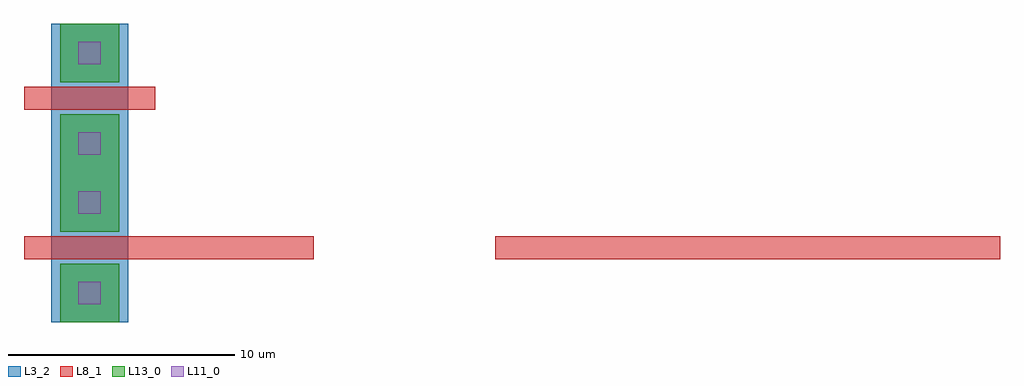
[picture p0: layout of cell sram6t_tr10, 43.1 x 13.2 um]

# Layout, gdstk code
from math import pi, radians
import gdstk
lib = gdstk.Library(unit=1e-6, precision=1e-07)
def R(c, l, rs):  # rectangles x0, y0, x1, y1
    for r in rs: c.add(gdstk.rectangle(r[:2], r[2:], *l))
L3_2 = (3, 2)
L8_1 = (8, 1)
L11_0 = (11, 0)
L13_0 = (13, 0)

fet_n = lib.new_cell('fet_n')
R(fet_n, L3_2, [(-3.3,-1.7,3.3,1.7)])
R(fet_n, L11_0, [(-2.5,-0.5,-1.5,0.5), (1.5,-0.5,2.5,0.5)])
R(fet_n, L13_0, [(-3.3,-1.3,-0.7,1.3), (0.7,-1.3,3.3,1.3)])
fet_n.add(gdstk.FlexPath([(0,-2.9),(0,2.9)], 1, ends="flush", simple_path=True, layer=8, datatype=1))  # L8_1

sram6t_tr10 = lib.new_cell('sram6t_tr10')
sram6t_tr10.add(gdstk.FlexPath([(-12.8,19.3),(-5.8,19.3)], 1, ends="flush", simple_path=True, layer=8, datatype=1))  # L8_1
sram6t_tr10.add(gdstk.FlexPath([(2.2,19.3),(24.5,19.3)], 1, ends="flush", simple_path=True, layer=8, datatype=1))  # L8_1
r = gdstk.Reference(fet_n, (-15.7,19.3), rotation=pi/2); r.repetition = gdstk.Repetition(1, 1, v1=(0,0), v2=(0,0)); sram6t_tr10.add(r)
r = gdstk.Reference(fet_n, (-15.7,25.9), rotation=pi/2); r.repetition = gdstk.Repetition(1, 1, v1=(0,0), v2=(0,0)); sram6t_tr10.add(r)

lib.write_gds('sram6t_tr10.gds')
